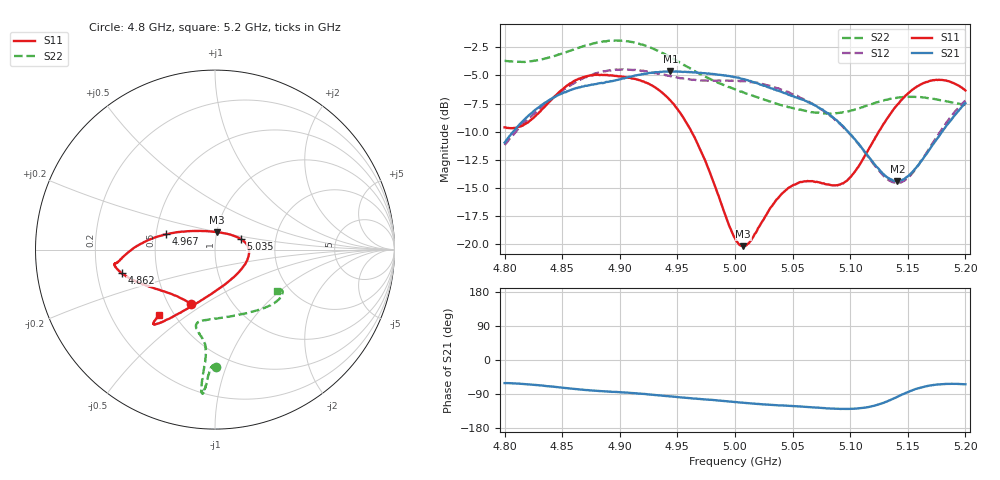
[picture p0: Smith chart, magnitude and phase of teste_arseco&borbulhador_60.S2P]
! Network Analyzer HP8722D
! Hewlett-Packard
! Data name: Linha & Wilkinson
! Saver's name: Rodrigo Anjos
! Comments: Teste da utilização de aquisição
! continua pelo VNA HP8722D
! Time and date: 15/4/2025 16:08
!  Frequency  S11  S21  S12  S22
# HZ  S  MA R 50
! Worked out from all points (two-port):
!   401 points, 4.8 GHz to 5.2 GHz, reference 50 ohm
!   highest |S21| = -4.63 dB at 4.944 GHz (marker M1); lowest = -14.4 dB at 5.141 GHz (marker M2)
!   |S21| within 3 dB of the highest: 4.832 GHz to 5.069 GHz (237.1 MHz wide, 4.79 % of centre); 5.198299 GHz to end of sweep
!   lowest |S11| = -20.2 dB at 5.007 GHz (marker M3), VSWR 1.22, Z = 50.3 + j9.88 ohm
!   |S11| at or under -10 dB: 4.962 GHz to 5.125 GHz (162.5 MHz wide, 3.22 % of centre)
!   |S22| runs from -8.4 to -1.9 dB; largest |S21 - S12| = 0.88
!   S11 on the Smith chart (normalised r, x): 4.8 GHz: 0.65, -0.44; 4.862 GHz: 0.31, -0.11; 4.967 GHz: 0.57, +0.11; 5.035 GHz: 1.32, +0.16; 5.2 GHz: 0.41, -0.40
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4.8e9  0.3307 -113.9  0.2828 -61.0  0.2761 -175.1  0.6535 -89.5
4.819e9  0.3449 -133.7  0.3648 -63.8  0.3535 -173.4  0.6488 -91.2
4.862e9  0.5369 -165.7  0.4942 -76.7  0.5262 -176.4  0.7394 -93.6
4.867e9  0.5492 -167.7  0.5016 -78.2  0.5424 -177.4  0.7552 -93.7
4.903e9  0.5547 -172.2  0.546 -85.4  0.599 175.0  0.802 -95.2
4.934e9  0.4845 -178.1  0.5818 -93.4  0.5727 171.8  0.719 -95.7
4.944e9  0.4352 177.3  0.5866 -96.2  0.5575 171.9  0.6776 -95.4
4.967e9  0.2836 162.4  0.5796 -102.2  0.5353 174.0  0.5795 -94.9
5e9  0.1063 106.7  0.5532 -111.0  0.5327 176.3  0.4877 -99.3
5.007e9  0.0981 82.8  0.5419 -112.7  0.5301 176.2  0.4729 -100.9
5.014e9  0.1042 60.7  0.5304 -114.6  0.5263 176.2  0.4599 -102.5
5.035e9  0.1549 22.6  0.4856 -118.9  0.497 175.0  0.4233 -103.9
5.049e9  0.1811 7.6  0.4561 -121.3  0.4663 174.5  0.404 -100.9
5.067e9  0.1908 -11.6  0.4206 -124.7  0.4223 173.8  0.3863 -91.8
5.087e9  0.1827 -44.0  0.3588 -128.5  0.3564 173.6  0.3811 -77.0
5.097e9  0.1913 -65.2  0.3204 -129.1  0.32 174.2  0.3885 -68.5
5.134e9  0.3733 -116.2  0.1959 -106.7  0.1919 -159.7  0.442 -43.4
5.141e9  0.4173 -120.2  0.1906 -96.8  0.1872 -148.6  0.4482 -40.2
5.153e9  0.4817 -125.1  0.2069 -81.0  0.2042 -130.1  0.452 -35.9
5.17e9  0.5329 -128.7  0.2688 -67.0  0.2735 -113.0  0.4444 -32.1
5.184e9  0.5321 -130.0  0.339 -63.1  0.3497 -107.2  0.431 -31.1
5.2e9  0.4823 -130.4  0.4239 -64.2  0.4351 -106.2  0.4155 -33.5
